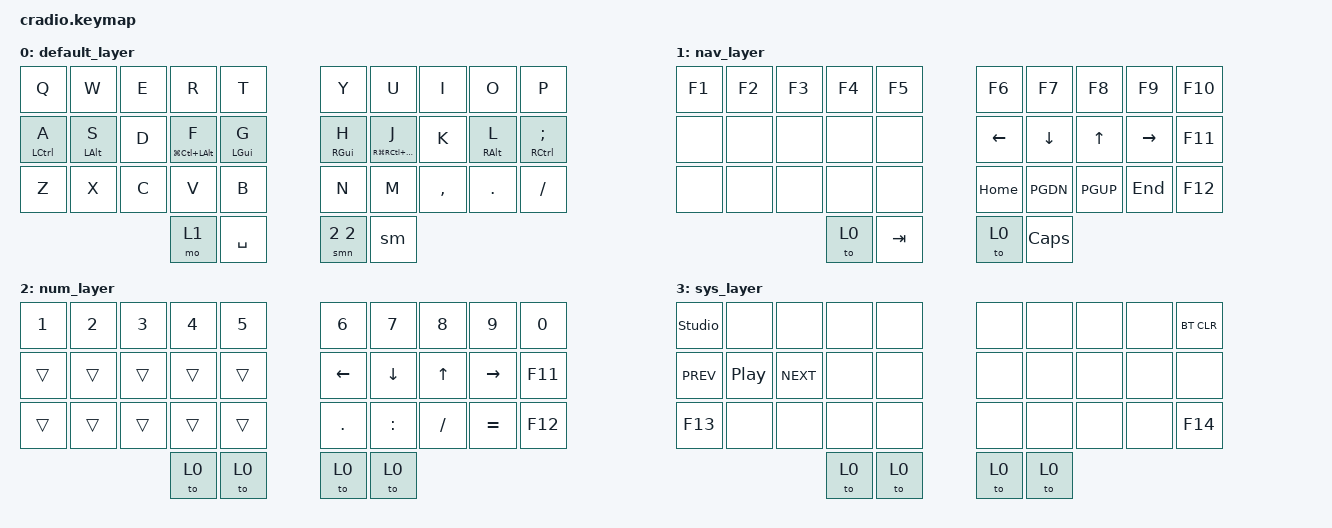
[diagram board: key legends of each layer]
/*
 * Copyright (c) 2020 The ZMK Contributors
 *
 * SPDX-License-Identifier: MIT
 */

#include <behaviors.dtsi>
#include <dt-bindings/zmk/keys.h>
#include <dt-bindings/zmk/bt.h>

#include "includes/combos.dtsi"
#include "includes/behaviors_homerow.dtsi"
#include "includes/behaviors_misc.dtsi"
#include "includes/macros.dtsi"

&sk {
    release-after-ms = <900>;  // release after 0.6s
    quick-release;             // no double capitalization when rolling keys
};


/ {

  behaviors {
    num_word: num_word {
      compatible = "zmk,behavior-auto-layer";
      #binding-cells = <1>;
      continue-list = <
        BACKSPACE DELETE DOT COMMA
        SLASH ASTERISK PLUS MINUS EQUAL DOLLAR
        RS(SPACE)
      >;
      ignore-numbers;  // number keys keep the layer active (num-word)
    };
  };

    keymap {
        compatible = "zmk,keymap";

        default_layer {
            bindings = <
                &kp Q &kp W &kp E &kp R &kp T     &kp Y &kp U &kp I &kp O &kp P
&hm_l LCTL A &hm_l LALT S &kp D &hm_l LG(LC(LALT)) F &hm_l LGUI G     &hm_r RGUI H &hm_r RG(RC(RALT)) J &kp K &hm_r RALT L &hm_r RCTRL SEMI
                &kp Z &kp X &kp C &kp V &kp B     &kp N &kp M &kp COMMA &kp DOT &kp FSLH
                         &mo 1 &kp SPACE     &smn 2 2 &sm
            >;
        };

        nav_layer {
            bindings = <
   &kp F1 &kp F2 &kp F3 &kp F4 &kp F5   &kp F6 &kp F7 &kp F8 &kp F9 &kp F10
   &none &none &none &none &none   &kp LEFT &kp DOWN &kp UP &kp RIGHT &kp F11
   &none &none &none &none &none   &kp HOME &kp PGDN &kp PGUP &kp END &kp F12
                       &to 0 &kp TAB   &to 0 &kp CAPS
            >;
        };

        num_layer {
            bindings = <
   &kp N1 &kp N2 &kp N3 &kp N4 &kp N5   &kp N6 &kp N7 &kp N8 &kp N9 &kp N0
   &trans &trans &trans &trans &trans   &kp LEFT &kp DOWN &kp UP &kp RIGHT &kp F11
   &trans &trans &trans &trans &trans   &kp DOT &kp COLON &kp FSLH &kp EQUAL &kp F12
                        &to 0 &to 0   &to 0 &to 0
            >;
        };

        sys_layer {
            bindings = <
             &studio_unlock &none &none &none &none   &none &none &none &none &bt BT_CLR
&kp C_PREV &kp C_PP &kp C_NEXT &none &none   &none &none &none &none &none
             &kp F13 &none &none &none &none   &none &none &none &none &kp F14
                               &to 0 &to 0   &to 0 &to 0
            >;
        };

    };
};
